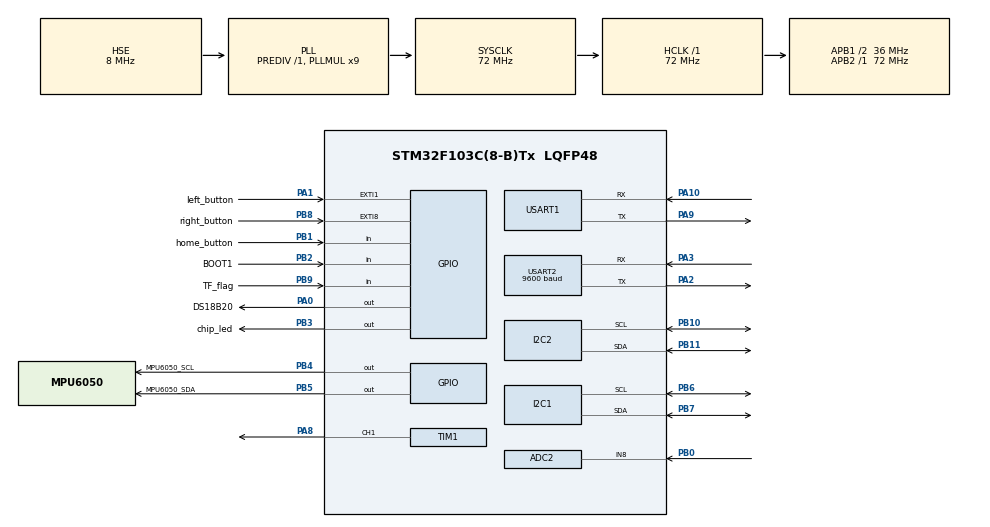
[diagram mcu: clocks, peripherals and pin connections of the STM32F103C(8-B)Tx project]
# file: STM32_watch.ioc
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ADC2.Channel-0\#ChannelRegularConversion=ADC_CHANNEL_8
ADC2.NbrOfConversionFlag=1
ADC2.Rank-0\#ChannelRegularConversion=1
ADC2.SamplingTime-0\#ChannelRegularConversion=ADC_SAMPLETIME_1CYCLE_5
FREERTOS.Queues01=UARTQueue,16,uint16_t,0,Dynamic,NULL,NULL
FREERTOS.Tasks01=defaultTask,24,256,StartDefaultTask,Default,NULL,Dynamic,NULL,NULL;HomeButtonListe,24,256,StartHomeButtonListen,Default,NULL,Dynamic,NULL,NULL;HomeButtonHandl,26,256,StartHomeButtonHandler,Default,NULL,Dynamic,NULL,NULL;lrbuttonListen,25,256,StartlrbuttonListen,Default,NULL,Dynamic,NULL,NULL;UartTestTask,24,256,StartUartTestTask,Default,NULL,Dynamic,NULL,NULL;OledshowTask,27,256,StartOledshowTask,Default,NULL,Dynamic,NULL,NULL;MPU6050Task,24,128,StartMPU6050Task,Default,NULL,Dynamic,NULL,NULL
FREERTOS.configTOTAL_HEAP_SIZE=10240
FREERTOS.configUSE_NEWLIB_REENTRANT=1
Mcu.Family=STM32F1
Mcu.Name=STM32F103C(8-B)Tx
Mcu.Package=LQFP48
NVIC.EXTI1_IRQn=true\:5\:0\:false\:false\:true\:false\:true\:true\:true
NVIC.EXTI9_5_IRQn=true\:5\:0\:false\:false\:true\:false\:true\:true\:true
NVIC.PriorityGroup=NVIC_PRIORITYGROUP_4
NVIC.TIM4_IRQn=true\:15\:0\:false\:false\:true\:false\:false\:true\:true
NVIC.TimeBase=TIM4_IRQn
NVIC.TimeBaseIP=TIM4
NVIC.USART2_IRQn=true\:5\:0\:false\:false\:true\:true\:true\:true\:true
PA0-WKUP.GPIO_Label=DS18B20
PA0-WKUP.GPIO_ModeDefaultOutputPP=GPIO_MODE_OUTPUT_OD
PA0-WKUP.GPIO_PuPd=GPIO_PULLUP
PA0-WKUP.Signal=GPIO_Output
PA1.GPIO_Label=left_button
PA1.GPIO_ModeDefaultEXTI=GPIO_MODE_IT_RISING_FALLING
PA1.GPIO_PuPd=GPIO_PULLUP
PA1.Signal=GPXTI1
PA10.Mode=Asynchronous
PA10.Signal=USART1_RX
PA13.Mode=Serial_Wire
PA13.Signal=SYS_JTMS-SWDIO
PA14.Mode=Serial_Wire
PA14.Signal=SYS_JTCK-SWCLK
PA2.Mode=Asynchronous
PA2.Signal=USART2_TX
PA3.Mode=Asynchronous
PA3.Signal=USART2_RX
PA8.Signal=S_TIM1_CH1
PA9.Mode=Asynchronous
PA9.Signal=USART1_TX
PB0.Signal=ADCx_IN8
PB1.GPIO_Label=home_button
PB1.GPIO_PuPd=GPIO_PULLUP
PB1.Signal=GPIO_Input
PB10.Mode=I2C
PB10.Signal=I2C2_SCL
PB11.Mode=I2C
PB11.Signal=I2C2_SDA
PB2.GPIO_Label=BOOT1
PB2.Signal=GPIO_Input
PB3.GPIO_Label=chip_led
PB3.Signal=GPIO_Output
PB4.GPIO_Label=MPU6050_SCL
PB4.GPIO_ModeDefaultOutputPP=GPIO_MODE_OUTPUT_OD
PB4.GPIO_PuPd=GPIO_PULLUP
PB4.Signal=GPIO_Output
PB5.GPIO_Label=MPU6050_SDA
PB5.GPIO_ModeDefaultOutputPP=GPIO_MODE_OUTPUT_OD
PB5.GPIO_PuPd=GPIO_PULLUP
PB5.Signal=GPIO_Output
PB6.Mode=I2C
PB6.Signal=I2C1_SCL
PB7.Mode=I2C
PB7.Signal=I2C1_SDA
PB8.GPIO_Label=right_button
PB8.GPIO_ModeDefaultEXTI=GPIO_MODE_IT_RISING_FALLING
PB8.GPIO_PuPd=GPIO_PULLUP
PB8.Signal=GPXTI8
PB9.GPIO_Label=TF_flag
PB9.Signal=GPIO_Input
PC14-OSC32_IN.Mode=LSE-External-Oscillator
PC14-OSC32_IN.Signal=RCC_OSC32_IN
PC15-OSC32_OUT.Mode=LSE-External-Oscillator
PC15-OSC32_OUT.Signal=RCC_OSC32_OUT
PD0-OSC_IN.Mode=HSE-External-Oscillator
PD0-OSC_IN.Signal=RCC_OSC_IN
PD1-OSC_OUT.Mode=HSE-External-Oscillator
PD1-OSC_OUT.Signal=RCC_OSC_OUT
ProjectManager.HeapSize=0x200
ProjectManager.StackSize=0x400
ProjectManager.TargetToolchain=STM32CubeIDE
RCC.ADCPresc=RCC_ADCPCLK2_DIV6
RCC.AHBFreq_Value=72000000
RCC.APB1CLKDivider=RCC_HCLK_DIV2
RCC.APB1Freq_Value=36000000
RCC.APB1TimFreq_Value=72000000
RCC.APB2Freq_Value=72000000
RCC.APB2TimFreq_Value=72000000
RCC.HCLKFreq_Value=72000000
RCC.PLLMUL=RCC_PLL_MUL9
RCC.PLLSourceVirtual=RCC_PLLSOURCE_HSE
RCC.RTCClockSelection=RCC_RTCCLKSOURCE_LSE
RCC.SYSCLKFreq_VALUE=72000000
RCC.SYSCLKSource=RCC_SYSCLKSOURCE_PLLCLK
RCC.USBFreq_Value=72000000
SH.ADCx_IN8.0=ADC2_IN8,IN8
SH.S_TIM1_CH1.0=TIM1_CH1,PWM Generation1 CH1
TIM1.Channel-PWM\ Generation1\ CH1=TIM_CHANNEL_1
TIM2.AutoReloadPreload=TIM_AUTORELOAD_PRELOAD_ENABLE
TIM2.Prescaler=71
USART1.VirtualMode=VM_ASYNC
USART2.BaudRate=9600
USART2.VirtualMode=VM_ASYNC
VP_FREERTOS_VS_CMSIS_V2.Mode=CMSIS_V2
VP_RTC_VS_RTC_Activate.Mode=RTC_Enabled
VP_SYS_VS_tim4.Mode=TIM4
VP_TIM2_VS_ClockSourceINT.Mode=Internal
VP_TIM3_VS_ClockSourceINT.Mode=Internal
board=custom

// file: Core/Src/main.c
/* USER CODE BEGIN Header */
/**
  ******************************************************************************
  * @file           : main.c
  * @brief          : Main program body
  ******************************************************************************
  * @attention
  *
  * Copyright (c) 2026 STMicroelectronics.
  * All rights reserved.
  *
  * This software is licensed under terms that can be found in the LICENSE file
  * in the root directory of this software component.
  * If no LICENSE file comes with this software, it is provided AS-IS.
  *
  ******************************************************************************
  */
/* USER CODE END Header */
#include "main.h"
#include "cmsis_os.h"
#include "adc.h"
#include "i2c.h"
#include "rtc.h"
#include "tim.h"
#include "usart.h"
#include "gpio.h"

/* USER CODE BEGIN Includes */
#include "oled.h"
#include "BMP280.h"
#include "DS18B20.h"
#include "MPU6050.h"
#include "clock.h"
/* USER CODE END Includes */

void SystemClock_Config(void);
void MX_FREERTOS_Init(void);

int main(void)
{

  /* MCU Configuration--------------------------------------------------------*/

  /* Reset of all peripherals, Initializes the Flash interface and the Systick. */
  HAL_Init();

  /* Configure the system clock */
  SystemClock_Config();

  /* Initialize all configured peripherals */
  MX_GPIO_Init();
  MX_ADC2_Init();
  MX_I2C1_Init();
  MX_I2C2_Init();
  MX_TIM1_Init();
  MX_USART1_UART_Init();
  MX_USART2_UART_Init();
  MX_RTC_Init();
  MX_TIM2_Init();
  MX_TIM3_Init();
  /* USER CODE BEGIN 2 */
  // 启动TIM2，用于Delay_us函数
  HAL_TIM_Base_Start(&htim2);
  HAL_TIM_Base_Start(&htim3);
  // 初始化硬件模块
  OLED_Init();
  BMP280_Init();
  DS18B20_Init();
  //MPU6050_Init();
  Clock_RTC_Init();
  __HAL_TIM_SET_COMPARE(&htim1, TIM_CHANNEL_1, 200);
  /* USER CODE END 2 */

  /* Init scheduler */
  osKernelInitialize();

  /* Call init function for freertos objects (in cmsis_os2.c) */
  MX_FREERTOS_Init();

  /* Start scheduler */
  osKernelStart();

  /* We should never get here as control is now taken by the scheduler */

  /* Infinite loop */
  while (1)
  {

  }
}

void SystemClock_Config(void)
{
  RCC_OscInitTypeDef RCC_OscInitStruct = {0};
  RCC_ClkInitTypeDef RCC_ClkInitStruct = {0};
  RCC_PeriphCLKInitTypeDef PeriphClkInit = {0};

  /** Initializes the RCC Oscillators according to the specified parameters
  * in the RCC_OscInitTypeDef structure.
  */
  RCC_OscInitStruct.OscillatorType = RCC_OSCILLATORTYPE_HSE|RCC_OSCILLATORTYPE_LSE;
  RCC_OscInitStruct.HSEState = RCC_HSE_ON;
  RCC_OscInitStruct.HSEPredivValue = RCC_HSE_PREDIV_DIV1;
  RCC_OscInitStruct.LSEState = RCC_LSE_ON;
  RCC_OscInitStruct.HSIState = RCC_HSI_ON;
  RCC_OscInitStruct.PLL.PLLState = RCC_PLL_ON;
  RCC_OscInitStruct.PLL.PLLSource = RCC_PLLSOURCE_HSE;
  RCC_OscInitStruct.PLL.PLLMUL = RCC_PLL_MUL9;
  if (HAL_RCC_OscConfig(&RCC_OscInitStruct) != HAL_OK)
  {
    Error_Handler();
  }

  /** Initializes the CPU, AHB and APB buses clocks
  */
  RCC_ClkInitStruct.ClockType = RCC_CLOCKTYPE_HCLK|RCC_CLOCKTYPE_SYSCLK
                              |RCC_CLOCKTYPE_PCLK1|RCC_CLOCKTYPE_PCLK2;
  RCC_ClkInitStruct.SYSCLKSource = RCC_SYSCLKSOURCE_PLLCLK;
  RCC_ClkInitStruct.AHBCLKDivider = RCC_SYSCLK_DIV1;
  RCC_ClkInitStruct.APB1CLKDivider = RCC_HCLK_DIV2;
  RCC_ClkInitStruct.APB2CLKDivider = RCC_HCLK_DIV1;

  if (HAL_RCC_ClockConfig(&RCC_ClkInitStruct, FLASH_LATENCY_2) != HAL_OK)
  {
    Error_Handler();
  }
  PeriphClkInit.PeriphClockSelection = RCC_PERIPHCLK_RTC|RCC_PERIPHCLK_ADC;
  PeriphClkInit.RTCClockSelection = RCC_RTCCLKSOURCE_LSE;
  PeriphClkInit.AdcClockSelection = RCC_ADCPCLK2_DIV6;
  if (HAL_RCCEx_PeriphCLKConfig(&PeriphClkInit) != HAL_OK)
  {
    Error_Handler();
  }
}

void HAL_TIM_PeriodElapsedCallback(TIM_HandleTypeDef *htim)
{
  if (htim->Instance == TIM4)
  {
    HAL_IncTick();
  }
}

void Error_Handler(void)
{
  __disable_irq();
  while (1)
  {
  }
}

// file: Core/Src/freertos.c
/* USER CODE BEGIN Header */
/**
 ******************************************************************************
 * File Name          : freertos.c
 * Description        : Code for freertos applications
 ******************************************************************************
 * @attention
 *
 * Copyright (c) 2025 STMicroelectronics.
 * All rights reserved.
 *
 * This software is licensed under terms that can be found in the LICENSE file
 * in the root directory of this software component.
 * If no LICENSE file comes with this software, it is provided AS-IS.
 *
 ******************************************************************************
 */
/* USER CODE END Header */

#include "FreeRTOS.h"
#include "task.h"
#include "main.h"
#include "cmsis_os.h"

/* USER CODE BEGIN Includes */
#include "clock.h"
#include <stdio.h>
#include <string.h>
#include "usart.h"
#include "tim.h"
#include "time.h"
#include "oled.h"
#include "DS18B20.h"
#include "game.h"
#include "BMP280.h"
#include "AHT20.h"
#include "queue.h"
#include "MPU6050.h"
#include "adc.h"
#include "flash_storage.h"
#include <math.h>
#include <stdlib.h>
#include "notes.h"
/* USER CODE END Includes */

/* USER CODE BEGIN PTD */
#define UART_QUEUE_LEN     10    // 串口队列长度

/* USER CODE END PTD */

/* USER CODE BEGIN PD */
// 游戏相关宏定义（优化补充：帧率、滤波、节流阈值）
#define GAME_CHAR_A         "A"        // 玩家控制字符
#define GAME_CHAR_V         "V"        // 下落字符
#define GAME_DISPLAY_PAGE  7           // 固定显示页
#define ACC_X_MIN          -1.0f       // X轴加速度下限
#define ACC_X_MAX          1.0f        // X轴加速度上限
#define SCREEN_X_MIN       0           // 屏幕X坐标下限
#define SCREEN_X_MAX       122         // 屏幕X坐标上限
#define CHAR_WIDTH          6          // 6*8点阵字符宽度（用于碰撞判断）
#define GAME_DISPLAY_PAGE_A 7           // 玩家字符A的显示页（页1，行8~15）
#define GAME_FRAME_DELAY   30          // 合理帧率延时（30ms，约33次/秒，流畅不卡顿）
#define POS_CHANGE_THRESH  3           // OLED操作节流阈值（坐标变化超过1才更新）
#define FILTER_ALPHA       0.7f        // 滑动滤波系数（0~1，越接近1越平滑，响应越慢；推荐0.7）
#define MAX_V_COUNT         10         // V的最大数量

#define GAME_DISPLAY_PAGE_V_INIT 0      // V的初始显示页（页0，最上方，行0~7）

#define R25_VALUE    1000.0f    // R25=1KΩ
#define R26_VALUE    3600.0f    // R26=3.6KΩ
#define ADC_RESOLUTION  4095.0f // 12位ADC分辨率（0~4095）
#define VREF_VOLTAGE   3.3f     // ADC参考电压（通常为3.3V）

#define USART2_RX_BUF_SIZE  80
uint8_t usart2_rx_single_buf[1];  // 单字节接收缓冲区（中断用）
uint8_t usart2_rx_str_buf[USART2_RX_BUF_SIZE] = {0};  // 字符串累积缓冲区
uint8_t usart2_rx_str_len = 0;    // 缓冲区当前长度
/* USER CODE END PD */

/* USER CODE BEGIN Variables */
// 全局变量
volatile Show_Picture_t Current_Show_Picture = home_time;
volatile Show_Picture_t Picture_before = home_time;
volatile Work_State_t g_work_state = NORMAL;
volatile Key_State_t g_home_key_state = KEY_NONE;
volatile Key_State_t g_left_key_state = KEY_NONE;
volatile Key_State_t g_right_key_state = KEY_NONE;
volatile Modify_Time_choose_t Modify_Time_choose = year;
volatile Modify_Temp_choose_t Modify_Temp_choose = mintemp;
volatile Modify_Alarm_choose_t Modify_Alarm_choose = MODIFY_ALARM_HOUR;
struct tm *time_temp = NULL;
uint8_t oled_screen_on = 1;

uint32_t adc_raw;
struct tm *now;

V_Obj_t V_Array[MAX_V_COUNT] = {0};    // V的结构体数组（最多10个）

Env_Thresh_Config_t g_global_env_config;
QueueHandle_t xUartQueue = NULL;   // 串口指令队列

int V_MOVE_INTERVAL = 500;     // V的下移间隔（1秒，FreeRTOS ticks）
int V_SPAWN_INTERVAL = 500;     // V的生成间隔（1秒，FreeRTOS ticks）

xTaskHandle xTask3_Handle = NULL;
xTaskHandle xTask2_Handle = NULL;
float AHT20_Temperature = 0;
float AHT20_Humidity = 0;

float BMP280_P0 = 101325.0;
float BMP280_Temperature = 0;
float BMP280_Pressure = 0;
uint8_t temp_flag = 0;
uint8_t pre_flag = 0;
float altitude = 0;
float ds18b20_Temperature = 0;

//掉电不丢失数据
float  H_temp;
float  L_temp;
float  L_preesure;
uint32_t  Screen_off_time = 30000;
uint8_t alarm_hour = 0;
uint8_t alarm_min = 0;
uint8_t alarm_second = 0;

float AccX = 0;
float AccY = 0;
float AccZ = 0;
float GyroX = 0;
float GyroY = 0;
float GyroZ = 0;

float percentage=0;

volatile uint8_t music_flag = 0;

#define ACC_CHANGE_THRESHOLD 0.2f

static float    last_AccX = 0.0f, last_AccY = 0.0f, last_AccZ = 0.0f; // 上一次加速度数据
static uint32_t axy_check_counter = 1;
static uint8_t last_minute = 0; // 上一次的分钟数，用于检测整点

/* USER CODE END Variables */
/* Definitions for defaultTask */
osThreadId_t defaultTaskHandle;
const osThreadAttr_t defaultTask_attributes = {
		.name = "defaultTask",
		.stack_size = 512 * 4,
		.priority = (osPriority_t) osPriorityNormal3,
};
/* Definitions for HomeButtonListe */
osThreadId_t HomeButtonListeHandle;
const osThreadAttr_t HomeButtonListe_attributes = {
		.name = "HomeButtonListe",
		.stack_size = 16 * 4,
		.priority = (osPriority_t) osPriorityNormal3,
};
/* Definitions for HomeButtonHandl */
osThreadId_t HomeButtonHandlHandle;
const osThreadAttr_t HomeButtonHandl_attributes = {
		.name = "HomeButtonHandl",
		.stack_size = 256 * 4,
		.priority = (osPriority_t) osPriorityNormal2,
};
/* Definitions for lrbuttonListen */
osThreadId_t lrbuttonListenHandle;
const osThreadAttr_t lrbuttonListen_attributes = {
		.name = "lrbuttonListen",
		.stack_size = 256 * 4,
		.priority = (osPriority_t) osPriorityNormal1,
};
/* Definitions for UartTestTask */
osThreadId_t UartTestTaskHandle;
const osThreadAttr_t UartTestTask_attributes = {
		.name = "UartTestTask",
		.stack_size = 256 * 4,
		.priority = (osPriority_t) osPriorityNormal,
};
/* Definitions for OledshowTask */
osThreadId_t OledshowTaskHandle;
const osThreadAttr_t OledshowTask_attributes = {
		.name = "OledshowTask",
		.stack_size = 256 * 4,
		.priority = (osPriority_t) osPriorityNormal3,
};
/* Definitions for MPU6050Task */
osThreadId_t MPU6050TaskHandle;
const osThreadAttr_t MPU6050Task_attributes = {
		.name = "MPU6050Task",
		.stack_size = 128 * 4,
		.priority = (osPriority_t) osPriorityNormal,
};
/* Definitions for UARTQueue */
osMessageQueueId_t UARTQueueHandle;
const osMessageQueueAttr_t UARTQueue_attributes = {
		.name = "UARTQueue"
};

/* USER CODE BEGIN FunctionPrototypes */

/**
 * @brief  解析环境参数键值对，更新全局配置
 * @param  key: 键名（M_Htemp/M_Ltemp/M_Lpre/M_OffTime）
 * @param  value: 数值字符串
 * @retval 0: 成功，1: 键名未知，2: 数值非法
 */
int Parse_Env_KeyValue(char *key, char *value)
{
	//	char dbg_msg[20];
	//	sprintf(dbg_msg, "AAA[%s], BBB:%s\n", key, value);
	//	HAL_UART_Transmit(&huart2, (uint8_t*)dbg_msg, strlen(dbg_msg), 100);
	float f_value;
	uint32_t u32_value;
	// 1. 最高温 M_Htemp
	if(strcmp(key, "M_Htemp") == 0)
	{
		//		sprintf(dbg_msg, "ENV_DBG: value=[%s], len=%d\r\n", value, strlen(value));
		//		HAL_UART_Transmit(&huart2, (uint8_t*)dbg_msg, strlen(dbg_msg), 100);
		//if(sscanf(value, "%f", &f_value) != 1) {return 2;}
		sscanf(value, "%f", &f_value);
		g_global_env_config.temp_high_thresh = f_value;
		//		sprintf(dbg_msg, "f_value:%.2f ENV_DBG: %.2f AAA", f_value,g_global_env_config.temp_high_thresh);
		//		HAL_UART_Transmit(&huart2, (uint8_t*)dbg_msg, strlen(dbg_msg), 100);
		return 0;
	}
	// 2. 最低温 M_Ltemp
	else if(strcmp(key, "M_Ltemp") == 0)
	{
		//HAL_TIM_PWM_Start(&htim1, TIM_CHANNEL_1);
		sscanf(value, "%f", &f_value);
		g_global_env_config.temp_low_thresh = f_value;
		return 0;
	}
	// 3. 最低气压 M_Lpre
	else if(strcmp(key, "M_Lpre") == 0)
	{
		sscanf(value, "%f", &f_value);
		g_global_env_config.press_low_thresh = f_value;
		return 0;
	}
	// 4. 熄屏时间 M_OffTime
	else if(strcmp(key, "M_OffTime") == 0)
	{
		sscanf(value, "%ld", &u32_value);
		g_global_env_config.Screen_off_time = u32_value;
		return 0;
	}
	// 未知键名
	else
	{
		HAL_TIM_PWM_Start(&htim1, TIM_CHANNEL_1);
		return 1;
	}
}

UART_Cmd_t Parse_UART_Cmd(uint8_t *buf)
{
	if(buf == NULL || buf[0] == '\0')
	{
		return CMD_NONE;
	}

	// 转换为C字符串方便处理
	char *cmd_str = (char *)buf;

	// 1. 时间校准命令：check_time+YYYY-MM-DD HH:MM:SS
	if(strstr(cmd_str, "check_time+") != NULL)
	{
		//HAL_TIM_PWM_Start(&htim1, TIM_CHANNEL_1);
		return CMD_CALIBRATION_TIME;
	}
	// 新增：环境参数修改命令：modify_env+$M_Htemp:xx$...
	if(strstr(cmd_str, "modify_env+") != NULL)
	{
		return CMD_MODIFY_ENV;
	}
	// 2. 原有显示命令（改成字符串判断，兼容旧逻辑）
	else if(strcmp(cmd_str, "show_time\r\n") == 0)
	{
		return CMD_SHOW_TIME;
	}
	else if(strcmp(cmd_str, "show_temp\r\n") == 0)
	{
		return CMD_SHOW_TEMP;
	}
	else if(strcmp(cmd_str, "show_press\r\n") == 0)
	{
		return CMD_SHOW_PRESS;
	}
	else if(strcmp(cmd_str, "show_game\r\n") == 0)
	{
		return CMD_SHOW_GAME;
	}
	// 3. 未知命令
	else
	{
		return CMD_NONE;
	}
}

void HAL_UART_RxCpltCallback(UART_HandleTypeDef *huart)
{
	if(huart->Instance == USART2) // 确保是USART2的中断
	{
		BaseType_t xHigherPriorityTaskWoken = pdFALSE;

		// 1. 将收到的单字节添加到字符串缓冲区
		if(usart2_rx_str_len < USART2_RX_BUF_SIZE - 1) // 预留最后1字节存结束符
		{
			usart2_rx_str_buf[usart2_rx_str_len++] = usart2_rx_single_buf[0];

			// 2. 判断是否收到结束符（\n），表示命令字符串接收完成
			if(usart2_rx_single_buf[0] == '\n')
			{
				// 添加字符串结束符，方便C语言字符串处理
				usart2_rx_str_buf[usart2_rx_str_len] = '\0';

				// 3. 将完整命令字符串发送到FreeRTOS队列
				if(xUartQueue != NULL)
				{
					xQueueSendFromISR(xUartQueue, usart2_rx_str_buf, &xHigherPriorityTaskWoken);
				}

				// 4. 清空缓冲区，准备下一次接收
				usart2_rx_str_len = 0;
				memset(usart2_rx_str_buf, 0, USART2_RX_BUF_SIZE);
			}
		}
		else
		{
			// 缓冲区满，强制清空
			usart2_rx_str_len = 0;
			memset(usart2_rx_str_buf, 0, USART2_RX_BUF_SIZE);
		}

		// 5. 重新开启串口中断（必须手动重启单次中断）
		HAL_UART_Receive_IT(&huart2, usart2_rx_single_buf, 1);
	}
}

void updatea_env_value()
{
	H_temp = g_global_env_config.temp_high_thresh;
	L_temp = g_global_env_config.temp_low_thresh;
	L_preesure = g_global_env_config.press_low_thresh;
	Screen_off_time = g_global_env_config.Screen_off_time;
	alarm_hour = g_global_env_config.alarm_hour;
	alarm_min = g_global_env_config.alarm_min;
	alarm_second = g_global_env_config.alarm_second;
}

// 提取OLED刷新公共函数，减少代码冗余
void Refresh_OLED_Time(struct tm *time_temp, char *row1, char *row2) {
	//OLED_CLS();
	sprintf(row1,"%02d-%02d-%02d",time_temp->tm_year + 1900,time_temp->tm_mon + 1,time_temp->tm_mday);
	sprintf(row2,"%02d:%02d:%02d",time_temp->tm_hour,time_temp->tm_min,time_temp->tm_sec);
	OLED_ShowStr(24, 1, (unsigned char*)row1, 2);
	OLED_ShowStr(32, 5, (unsigned char*)row2, 2);
}

void Refresh_OLED_Temp(char *row1, char *row2) {
	//OLED_CLS();
	sprintf(row1,"MIN_TEMP:%.2f",L_temp);
	sprintf(row2,"MAX_TEMP:%.2f",H_temp);
	OLED_ShowStr(10, 1, (unsigned char*)row1, 2);
	OLED_ShowStr(10, 5, (unsigned char*)row2, 2);
}

// 先声明一个辅助函数：获取指定月份的最大天数（基础版，适配平年，进阶版可增加闰年判断）
int Get_Max_Day(int year_offset, int month) {
	// month是tm_mon（0~11），对应1~12月
	switch(month) {
	case 1: // 2月（平年28天，闰年29天，此处先做平年处理，后续可扩展闰年判断）
		return 28;
	case 3: case 5: case 8: case 10: // 4、6、9、11月（30天）
		return 30;
	default: // 1、3、5、7、8、10、12月（31天）
		return 31;
	}
}

/**
 * @brief  读取ADC2_IN8的原始采样值
 * @retval ADC原始值（0~4095）
 */
void ADC_Read_Raw(void)
{
	if (HAL_ADC_Start(&hadc2) != HAL_OK)
	{
		Error_Handler();
	}

	// 等待转换完成
	if (HAL_ADC_PollForConversion(&hadc2, 10) == HAL_OK)
	{
		// 读取ADC原始值
		adc_raw = HAL_ADC_GetValue(&hadc2);
	}

	HAL_ADC_Stop(&hadc2);
}

/**
 * @brief  计算电池电压（基于分压电路反推）
 * @retval 电池电压值（单位：V，如锂电池满电约4.2V）
 */
float ADC_Calculate_BatteryVoltage(void)
{
	ADC_Read_Raw();
	// 1. 计算ADC采样到的分压后电压
	float sampled_voltage = (adc_raw * VREF_VOLTAGE) / ADC_RESOLUTION;
	// 2. 根据分压比反推电池电压：Vbat = Vsampled * (R25+R26)/R26
	float battery_voltage = sampled_voltage * (R25_VALUE + R26_VALUE) / R26_VALUE;

	return battery_voltage;
}

void gameTask(void * pvParameters);
void musicTask(void * pvParameters);
/* USER CODE END FunctionPrototypes */

void StartDefaultTask(void *argument);
void StartHomeButtonListen(void *argument);
void StartHomeButtonHandler(void *argument);
void StartlrbuttonListen(void *argument);
void StartUartTestTask(void *argument);
void StartOledshowTask(void *argument);
void StartMPU6050Task(void *argument);

void MX_FREERTOS_Init(void); /* (MISRA C 2004 rule 8.1) */

void MX_FREERTOS_Init(void) {
	/* USER CODE BEGIN Init */

	xUartQueue = xQueueCreate(UART_QUEUE_LEN, USART2_RX_BUF_SIZE);

	HAL_UART_Receive_IT(&huart2, usart2_rx_single_buf, 1);
	/* USER CODE END Init */

	/* Create the queue(s) */
	/* creation of UARTQueue */
	UARTQueueHandle = osMessageQueueNew (16, sizeof(uint16_t), &UARTQueue_attributes);

	/* Create the thread(s) */
	/* creation of defaultTask */
	defaultTaskHandle = osThreadNew(StartDefaultTask, NULL, &defaultTask_attributes);

	/* creation of HomeButtonListe */
	HomeButtonListeHandle = osThreadNew(StartHomeButtonListen, NULL, &HomeButtonListe_attributes);

	/* creation of HomeButtonHandl */
	HomeButtonHandlHandle = osThreadNew(StartHomeButtonHandler, NULL, &HomeButtonHandl_attributes);

	/* creation of lrbuttonListen */
	lrbuttonListenHandle = osThreadNew(StartlrbuttonListen, NULL, &lrbuttonListen_attributes);

	/* creation of UartTestTask */
	UartTestTaskHandle = osThreadNew(StartUartTestTask, NULL, &UartTestTask_attributes);

	/* creation of OledshowTask */
	OledshowTaskHandle = osThreadNew(StartOledshowTask, NULL, &OledshowTask_attributes);

	/* creation of MPU6050Task */
	MPU6050TaskHandle = osThreadNew(StartMPU6050Task, NULL, &MPU6050Task_attributes);

}

void StartDefaultTask(void *argument)
{
	/* USER CODE BEGIN StartDefaultTask */
	/* Infinite loop */
	//HAL_TIM_PWM_Start(&htim1, TIM_CHANNEL_1);
	char message[50] = "";
	if(Flash_Storage_Read_Latest_Thresh(&g_global_env_config)==HAL_OK)
	{
		updatea_env_value();
	}
	//	g_global_env_config.temp_high_thresh = 32.0f;
	//	g_global_env_config.temp_low_thresh = 6.0f;
	//	g_global_env_config.press_low_thresh = 90000.0f;
	//	g_global_env_config.Screen_off_time = 30000;
	//	Flash_Storage_Write_Thresh(&g_global_env_config);
	UART_Cmd_t uart_cmd = CMD_NONE;
	BaseType_t xStatus;
	char *env_param, *token, *key, *value;
	char env_buf[USART2_RX_BUF_SIZE] = {0}; // 环境参数缓冲区
	int parse_result;
	for(;;)
	{
		xStatus = xQueueReceive(xUartQueue, usart2_rx_str_buf, 0);
		if(xStatus == pdPASS)
		{
			uart_cmd = Parse_UART_Cmd(usart2_rx_str_buf);

			// 处理串口指令
			switch(uart_cmd)
			{
			case CMD_SHOW_TIME:
				Current_Show_Picture = home_time;
				break;

				// ========== 新增：时间校准命令处理 ==========
			case CMD_CALIBRATION_TIME:
			{
				// 提取时间参数：从"check_time+"后面截取时间字符串
				char *time_param = strstr((char *)usart2_rx_str_buf, "check_time+") + strlen("check_time+");
				if(time_param != NULL)
				{
					// 去除末尾的换行符，避免解析错误
					time_param[strcspn(time_param, "\r\n")] = '\0';

					// 解析时间字符串为struct tm格式
					struct tm calib_time = {0};
					sscanf(time_param, "%d-%d-%d %d:%d:%d",
							&calib_time.tm_year, &calib_time.tm_mon, &calib_time.tm_mday,
							&calib_time.tm_hour, &calib_time.tm_min, &calib_time.tm_sec);

					// 转换为RTC需要的格式：tm_year是从1900年开始的偏移，tm_mon是0-11
					calib_time.tm_year -= 1900;
					calib_time.tm_mon -= 1;
					calib_time.tm_sec += 1;

					// 设置RTC时间
					Clock_RTC_SetTime(&calib_time);

					// 发送校准成功响应
					sprintf(message, "CALIB_OK: %s\r\n", time_param);
					HAL_UART_Transmit(&huart2, (uint8_t*)message, strlen(message), 100);
				}
			}
			break;
			// ========== 新增：环境参数修改命令处理 ==========
			case CMD_MODIFY_ENV:
			{
				// 1. 提取环境参数（跳过modify_env+前缀）
				env_param = strstr((char *)usart2_rx_str_buf, "modify_env+");
				if(env_param == NULL)
				{
					sprintf(message, "ENV_ERR: Param NULL\r\n");
					HAL_UART_Transmit(&huart2, (uint8_t*)message, strlen(message), 100);
					break;
				}
				env_param += strlen("modify_env+");

				// 2. 清洗参数：去除\r\n，复制到临时缓冲区
				env_param[strcspn(env_param, "\r\n")] = '\0';
				strncpy(env_buf, env_param, sizeof(env_buf)-1);
				env_buf[sizeof(env_buf)-1] = '\0';
				HAL_UART_Transmit(&huart2, (uint8_t*)"SDSD  ", strlen("SDSD  "), 100);
				HAL_UART_Transmit(&huart2, (uint8_t*)env_buf, strlen(env_buf), 100);

				// 3. 手动解析键值对（以$分隔，格式：$key:value$key:value$）
				int all_ok = 1; // 所有参数是否解析成功
				int i = 0;
				while(i < sizeof(env_buf) && env_buf[i] != '\0')
				{
					// 跳过非$字符
					while(i < sizeof(env_buf) && env_buf[i] != '$' && env_buf[i] != '\0')
					{
						i++;
					}
					// 跳过$字符
					if(i < sizeof(env_buf) && env_buf[i] == '$')
					{
						i++;
					}
					// 找到键值对的开始位置
					int start = i;
					// 找到下一个$字符或结束符
					while(i < sizeof(env_buf) && env_buf[i] != '$' && env_buf[i] != '\0')
					{
						i++;
					}
					// 提取键值对
					if(i > start)
					{
						// 复制到临时缓冲区
						char pair_buf[20] = {0};
						strncpy(pair_buf, &env_buf[start], i - start);
						pair_buf[i - start] = '\0';

						// 分割key和value
						char *colon_pos = strchr(pair_buf, ':');
						if(colon_pos == NULL)
						{
							all_ok = 0;
							break;
						}

						// 分割key
						char key_buf[10] = {0};
						int key_len = colon_pos - pair_buf;
						strncpy(key_buf, pair_buf, key_len);
						key_buf[key_len] = '\0';

						// 分割value
						char value_buf[10] = {0};
						strncpy(value_buf, colon_pos + 1, strlen(colon_pos + 1));
						value_buf[strlen(colon_pos + 1)] = '\0';

						// 校验并解析
						if(strlen(key_buf) > 0 && strlen(value_buf) > 0)
						{
							// 只在修改共享资源时进入临界区
							taskENTER_CRITICAL();
							parse_result = Parse_Env_KeyValue(key_buf, value_buf);
							taskEXIT_CRITICAL();
							if(parse_result != 0)
							{
								all_ok = 0;
								break;
							}
						}
						else
						{
							all_ok = 0;
							break;
						}
					}
				}

				// 4. 所有参数解析成功，写入Flash并返回成功响应
				if(all_ok)
				{
					if(Flash_Storage_Write_Thresh(&g_global_env_config) == HAL_OK)
					{
						// 更新全局变量（和你的updatea_env_value逻辑对齐）
						updatea_env_value();
						sprintf(message, "ENV_OK: Save Success\r\n");
					}
					else
					{
						sprintf(message, "ENV_ERR: Flash Write Fail\r\n");
					}
				}
				else
				{
					sprintf(message, "ENV_ERR: Invalid Param\r\n");
				}

				// 5. 发送响应
				HAL_UART_Transmit(&huart2, (uint8_t*)message, strlen(message), 100);
			}
			break;
			case CMD_SHOW_TEMP:
				Current_Show_Picture = temperature;
				break;
			case CMD_SHOW_PRESS:
				Current_Show_Picture = pressure;
				break;
			case CMD_SHOW_GAME:
				Current_Show_Picture = game;
				break;
			default:
				break;
			}
		}

		osDelay(100);  // 降低任务CPU占用率
	}
	/* USER CODE END StartDefaultTask */
}

void StartHomeButtonListen(void *argument)
{
	/* USER CODE BEGIN StartHomeButtonListen */
	/* Infinite loop */
	while(1)
	{
		//		if(oled_screen_on == 0)
		//		{
		//			OLED_ON();
		//			oled_screen_on = 1;
		//		}
		if (HAL_GPIO_ReadPin(home_button_GPIO_Port, home_button_Pin) == GPIO_PIN_RESET)
		{
			// 按键按下：清零累计时长，启动定时器10ms中断
			//			g_home_key_press_ms = 0;
			//			HAL_TIM_Base_Start_IT(&htim3);
			osDelay(600);
			if (HAL_GPIO_ReadPin(home_button_GPIO_Port, home_button_Pin) == GPIO_PIN_RESET)
			{
				//HAL_GPIO_WritePin(GPIOB, GPIO_PIN_3, GPIO_PIN_SET);
				g_home_key_state = KEY_LONG_PRESS;
			}
			else if (HAL_GPIO_ReadPin(home_button_GPIO_Port, home_button_Pin) == GPIO_PIN_SET)
			{
				//HAL_GPIO_WritePin(GPIOB, GPIO_PIN_3, GPIO_PIN_RESET);
				g_home_key_state = KEY_SHORT_PRESS;
			}
			//HAL_TIM_Base_Start_IT(&htim3);
			//g_home_key_press_ms = 0;
		}
		else
		{
			// 按键松开：重置按键状态
			g_home_key_state = KEY_NONE;
		}
		osDelay(30);
	}
	/* USER CODE END StartHomeButtonListen */
}

void StartHomeButtonHandler(void *argument)
{
	/* USER CODE BEGIN StartHomeButtonHandler */
	/* Infinite loop */
	struct tm *now;
	char row1[30] = "";
	char row2[30] = "";
	for(;;)
	{

		if(g_home_key_state == KEY_NONE && g_work_state == NORMAL)
		{

		}
		else if(g_home_key_state == KEY_SHORT_PRESS && g_work_state == NORMAL && Current_Show_Picture != home_time)
		{
			//返回主界面
			Current_Show_Picture = home_time;
			g_home_key_state = KEY_NONE;
		}
		else if(g_home_key_state == KEY_LONG_PRESS && g_work_state == NORMAL&&Current_Show_Picture == game)
		{

			if (xTask2_Handle == NULL)
			{
				g_work_state = PLAY_GAME;
				g_home_key_state = KEY_NONE;
				vTaskSuspend(OledshowTaskHandle);
				//				vTaskSuspend(UartTestTaskHandle);
				//				vTaskSuspend(lrbuttonListenHandle);
				vTaskSuspend(MPU6050TaskHandle);
				OLED_CLS();
				xTaskCreate(gameTask,"gameTask",32,NULL,(osPriority_t) osPriorityNormal3,&xTask2_Handle );
			}
		}
		else if(g_home_key_state == KEY_LONG_PRESS && g_work_state == NORMAL&&Current_Show_Picture == music)
		{

			if (xTask3_Handle == NULL)
			{
				xTaskCreate(musicTask,"musicTask",256,NULL,(osPriority_t) osPriorityNormal3,&xTask3_Handle );
				music_flag = 1;
			}
			if(music_flag == 0)
			{
				vTaskResume(xTask3_Handle);
				music_flag = 1;
			}
			if(music_flag == 1)
			{
				vTaskSuspend(xTask3_Handle);
				music_flag = 0;
			}
		}
		else if(g_home_key_state == KEY_LONG_PRESS && g_work_state == PLAY_GAME)
		{
			g_work_state = NORMAL;
			g_home_key_state = KEY_NONE; // 重置按键状态，避免重复触发
			OLED_CLS();

			// 恢复所有挂起的任务（包括homeButtonListeHandle）
			vTaskResume(OledshowTaskHandle);
			vTaskResume(UartTestTaskHandle);//			    //vTaskResume(homeButtonListeHandle); // 恢复之前注释的按键监听任务
			//			    vTaskResume(lrbuttonListenHandle);
			vTaskResume(MPU6050TaskHandle);

		}
		else if(g_home_key_state == KEY_LONG_PRESS && g_work_state == NORMAL&&Current_Show_Picture == home_time)
		{
			//修改时间
			g_work_state = MODIFY_TIME;
			Modify_Time_choose = year;
			now = Clock_RTC_GetTime();
			time_temp = now;
			vTaskSuspend(OledshowTaskHandle);
			vTaskSuspend(UartTestTaskHandle);
			sprintf(row1,"%02d-%02d-%02d",now->tm_year + 1900,now->tm_mon + 1,now->tm_mday);
			sprintf(row2,"%02d:%02d:%02d",now->tm_hour,now->tm_min,now->tm_sec);
			OLED_CLS();
			OLED_ShowStr(24, 1, (unsigned char*)row1, 2);
			OLED_ShowStr(32, 5, (unsigned char*)row2, 2);
			g_home_key_state = KEY_NONE;
		}
		else if(g_home_key_state == KEY_LONG_PRESS && g_work_state == MODIFY_TIME)
		{
			//退出修改时间
			g_work_state = NORMAL;
			g_home_key_state = KEY_NONE;
			now = time_temp;
			Clock_RTC_SetTime(now);
			OLED_CLS();
			vTaskResume(OledshowTaskHandle);
			vTaskResume(UartTestTaskHandle);
		}
		else if(g_home_key_state == KEY_LONG_PRESS && g_work_state == NORMAL&&Current_Show_Picture == temperature)
		{
			//修改温度
			g_work_state = MODIFY_TEMP;
			Modify_Temp_choose = mintemp;
			OLED_CLS();
			vTaskSuspend(OledshowTaskHandle);
			vTaskSuspend(UartTestTaskHandle);
			sprintf(row1,"MIN_TEMP:%.2f",L_temp);
			sprintf(row2,"MAX_TEMP:%.2f",H_temp);
			OLED_ShowStr(10, 1, (unsigned char*)row1, 2);
			OLED_ShowStr(10, 5, (unsigned char*)row2, 2);
			g_home_key_state = KEY_NONE;
			//HAL_TIM_PWM_Start(&htim1, TIM_CHANNEL_1);
		}
		else if(g_home_key_state == KEY_LONG_PRESS && g_work_state == MODIFY_TEMP)
		{
			//退出修改温度
			g_work_state = NORMAL;
			g_home_key_state = KEY_NONE;
			g_global_env_config.temp_high_thresh = H_temp;
			g_global_env_config.temp_low_thresh = L_temp;
			Flash_Storage_Write_Thresh(&g_global_env_config);
			OLED_CLS();
			vTaskResume(OledshowTaskHandle);
			vTaskResume(UartTestTaskHandle);
		}
		else if(g_home_key_state == KEY_LONG_PRESS && g_work_state == NORMAL&&Current_Show_Picture == alarm)
		{
			//修改闹钟
			g_work_state = MODIFY_ALARM;
			Modify_Alarm_choose = MODIFY_ALARM_HOUR;
			OLED_CLS();
			vTaskSuspend(OledshowTaskHandle);
			vTaskSuspend(UartTestTaskHandle);
			sprintf(row1,"%02d-%02d-%02d",alarm_hour,alarm_min,alarm_second);
			OLED_ShowStr(30, 3, (unsigned char*)row1, 2);
			g_home_key_state = KEY_NONE;
		}
		else if(g_home_key_state == KEY_LONG_PRESS && g_work_state == MODIFY_ALARM)
		{
			//退出修改闹钟
			g_work_state = NORMAL;
			g_home_key_state = KEY_NONE;
			g_global_env_config.alarm_hour = alarm_hour;
			g_global_env_config.alarm_min = alarm_min;
			g_global_env_config.alarm_second = alarm_second;
			Flash_Storage_Write_Thresh(&g_global_env_config);
			OLED_CLS();
			vTaskResume(OledshowTaskHandle);
			vTaskResume(UartTestTaskHandle);
		}
		else if(g_home_key_state == KEY_SHORT_PRESS && g_work_state == MODIFY_TIME)
		{
			//选择要修改的时间
			//taskENTER_CRITICAL();
			Modify_Time_choose = (Modify_Time_choose + 1) % 6;
			//taskEXIT_CRITICAL();
			g_home_key_state = KEY_NONE;
			//其他两个按键监听g_work_state修改
		}
		else if(g_home_key_state == KEY_SHORT_PRESS && g_work_state == MODIFY_TEMP)
		{
			//选择要修改的时间
			//taskENTER_CRITICAL();
			Modify_Temp_choose = (Modify_Temp_choose + 1) % 2;
			//taskEXIT_CRITICAL();
			g_home_key_state = KEY_NONE;
			//其他两个按键监听g_work_state修改
		}
		else if(g_home_key_state == KEY_SHORT_PRESS && g_work_state == MODIFY_ALARM)
		{
			//选择要修改的闹钟
			Modify_Alarm_choose = (Modify_Alarm_choose + 1) % 3;
			g_home_key_state = KEY_NONE;
		}
		else if(g_home_key_state == KEY_NONE && g_work_state == MODIFY_TIME)
		{
			//无操作
		}

		osDelay(200);
		//延时不能太短，不然会判断两次长按
	}
	/* USER CODE END StartHomeButtonHandler */
}

void StartlrbuttonListen(void *argument)
{
	/* USER CODE BEGIN StartlrbuttonListen */
	/* Infinite loop */
	char row1[30] = "";
	char row2[30] = "";
	while(1)
	{
		HAL_GPIO_TogglePin(GPIOB, GPIO_PIN_3);
		if(g_work_state == NORMAL)
		{
			if(g_right_key_state == KEY_SHORT_PRESS)
			{
				Current_Show_Picture = (Current_Show_Picture + 1) % 6;
				g_right_key_state = KEY_NONE;
			}
			else if(g_left_key_state == KEY_SHORT_PRESS)
			{
				if(Current_Show_Picture > 0)
					Current_Show_Picture = (Current_Show_Picture - 1) % 6;
				g_left_key_state = KEY_NONE;
			}
		}
		else if(g_work_state == MODIFY_TIME)
		{
			if(g_left_key_state == KEY_SHORT_PRESS)
			{
				switch(Modify_Time_choose)
				{
				case year:
					// 年份下限：建议不低于0（对应1900年，可自定义调整）
					if(time_temp->tm_year > 0) {
						time_temp->tm_year = time_temp->tm_year - 1;
					}
					break;
				case mon:
					// 月份下限：0（对应1月）
					if(time_temp->tm_mon > 0) {
						time_temp->tm_mon = time_temp->tm_mon - 1;
						// 月份递减后，需同步修正日期（避免原日期超过新月份的最大天数，比如31日减到4月（30天））
						int max_day = Get_Max_Day(time_temp->tm_year, time_temp->tm_mon);
						if(time_temp->tm_mday > max_day) {
							time_temp->tm_mday = max_day;
						}
					}
					break;
				case day:
					// 日期下限：1，上限：当前月份的最大天数
					if(time_temp->tm_mday > 1) {
						time_temp->tm_mday = time_temp->tm_mday - 1;
					}
					break;
				case hour:
					// 小时下限：0
					if(time_temp->tm_hour > 0) {
						time_temp->tm_hour = time_temp->tm_hour - 1;
					}
					break;
				case min:
					// 分钟下限：0
					if(time_temp->tm_min > 0) {
						time_temp->tm_min = time_temp->tm_min - 1;
					}
					break;
				case sec:
					// 秒数下限：0
					if(time_temp->tm_sec > 0) {
						time_temp->tm_sec = time_temp->tm_sec - 1;
					}
					break;
				}
				// 调用公共刷新函数
				Refresh_OLED_Time(time_temp, row1, row2);
				g_left_key_state = KEY_NONE;
			}
			else if(g_right_key_state == KEY_SHORT_PRESS)
			{
				switch(Modify_Time_choose)
				{
				case year:
					// 年份上限：可自定义（比如2100年，对应tm_year=200）
					if(time_temp->tm_year < 200) {
						time_temp->tm_year = time_temp->tm_year + 1;
					}
					break;
				case mon:
					// 月份上限：11（对应12月）
					if(time_temp->tm_mon < 11) {
						time_temp->tm_mon = time_temp->tm_mon + 1;
						// 月份递增后，同步修正日期（避免原日期超过新月份的最大天数）
						int max_day = Get_Max_Day(time_temp->tm_year, time_temp->tm_mon);
						if(time_temp->tm_mday > max_day) {
							time_temp->tm_mday = max_day;
						}
					}
					break;
				case day:
					// 日期上限：当前月份的最大天数
					int max_day = Get_Max_Day(time_temp->tm_year, time_temp->tm_mon);
					if(time_temp->tm_mday < max_day) {
						time_temp->tm_mday = time_temp->tm_mday + 1;
					}
					break;
				case hour:
					// 小时上限：23
					if(time_temp->tm_hour < 23) {
						time_temp->tm_hour = time_temp->tm_hour + 1;
					}
					break;
				case min:
					// 分钟上限：59
					if(time_temp->tm_min < 59) {
						time_temp->tm_min = time_temp->tm_min + 1;
					}
					break;
				case sec:
					// 秒数上限：59
					if(time_temp->tm_sec < 59) {
						time_temp->tm_sec = time_temp->tm_sec + 1;
					}
					break;
				}
				// 调用公共刷新函数
				Refresh_OLED_Time(time_temp, row1, row2);
				g_right_key_state = KEY_NONE;
			}

		}
		else if(g_work_state == MODIFY_TEMP)
		{
			if(g_left_key_state == KEY_SHORT_PRESS)
			{
				switch(Modify_Temp_choose)
				{
				case mintemp:
					if(L_temp > -40) {
						L_temp--;
						// 确保低温不能比高温高
						if(L_temp >= H_temp) {
							L_temp = H_temp - 1;
						}
					}
					break;
				case maxtemp:
					if(H_temp > -40) {
						H_temp--;
						// 确保高温不能比低温低
						if(H_temp <= L_temp) {
							H_temp = L_temp + 1;
						}
					}
					break;
				}
				// 调用公共刷新函数
				Refresh_OLED_Temp(row1, row2);
				g_left_key_state = KEY_NONE;
			}
			else if(g_right_key_state == KEY_SHORT_PRESS)
			{
				switch(Modify_Temp_choose)
				{
				case mintemp:
					if(L_temp < 85) {
						L_temp++;
						// 确保低温不能比高温高
						if(L_temp >= H_temp) {
							L_temp = H_temp - 1;
						}
					}
					break;
				case maxtemp:
					if(H_temp < 85) {
						H_temp++;
						// 确保高温不能比低温低
						if(H_temp <= L_temp) {
							H_temp = L_temp + 1;
						}
					}
					break;
				}
				// 调用公共刷新函数
				Refresh_OLED_Temp(row1, row2);
				g_right_key_state = KEY_NONE;
			}
		}
		else if(g_work_state == MODIFY_ALARM)
		{
			if(g_left_key_state == KEY_SHORT_PRESS)
			{
				switch(Modify_Alarm_choose)
				{
				case MODIFY_ALARM_HOUR:
					if(alarm_hour > 0) {
						alarm_hour--;
					}
					break;
				case MODIFY_ALARM_MIN:
					if(alarm_min > 0) {
						alarm_min--;
					}
					break;
				case MODIFY_ALARM_SEC:
					if(alarm_second > 0) {
						alarm_second--;
					}
					break;
				}
				// 刷新显示
				sprintf(row1,"%02d-%02d-%02d",alarm_hour,alarm_min,alarm_second);
				OLED_ShowStr(24, 3, (unsigned char*)row1, 2);
				g_left_key_state = KEY_NONE;
			}
			else if(g_right_key_state == KEY_SHORT_PRESS)
			{
				switch(Modify_Alarm_choose)
				{
				case MODIFY_ALARM_HOUR:
					if(alarm_hour < 23) {
						alarm_hour++;
					}
					break;
				case MODIFY_ALARM_MIN:
					if(alarm_min < 59) {
						alarm_min++;
					}
					break;
				case MODIFY_ALARM_SEC:
					if(alarm_second < 59) {
						alarm_second++;
					}
					break;
				}
				// 刷新显示
				sprintf(row1,"%02d-%02d-%02d",alarm_hour,alarm_min,alarm_second);
				OLED_ShowStr(24, 3, (unsigned char*)row1, 2);
				g_right_key_state = KEY_NONE;
			}
		}
		osDelay(50);
	}
	/* USER CODE END StartlrbuttonListen */
}

void StartUartTestTask(void *argument)
{
	/* USER CODE BEGIN StartUartTestTask */
	/* Infinite loop */
	char message[150] = "";
	//	char er[6] = "";
	//	char ee[6] = "";
	//	char ea[6] = "";
	HAL_TIM_Base_Start(&htim1);
	float battery_volt=0.0f;
	for(;;)
	{
		//		if(g_home_key_state == KEY_SHORT_PRESS)
		//		{
		//			strcpy(er, "SHORT");
		//		}
		//		else if(g_home_key_state == KEY_LONG_PRESS)
		//		{
		//			strcpy(er, "LONG");
		//		}
		//		else if(g_home_key_state == KEY_NONE)
		//		{
		//			strcpy(er, "NO");
		//		}
		//		if(g_left_key_state == KEY_SHORT_PRESS)
		//		{
		//			strcpy(ee, "SHORT");
		//		}
		//		else if(g_left_key_state == KEY_LONG_PRESS)
		//		{
		//			strcpy(ee, "LONG");
		//		}
		//		else if(g_left_key_state == KEY_NONE)
		//		{
		//			strcpy(ee, "NO");
		//		}
		//		if(g_right_key_state == KEY_SHORT_PRESS)
		//		{
		//			strcpy(ea, "SHORT");
		//		}
		//		else if(g_right_key_state == KEY_LONG_PRESS)
		//		{
		//			strcpy(ea, "LONG");
		//		}
		//		else if(g_right_key_state == KEY_NONE)
		//		{
		//			strcpy(ea, "NO");
		//		}
		//		now = Clock_RTC_GetTime();
		//		sprintf(message,"%d-%d-%d %02d:%02d:%02d "
		//				"modify_num:%d home_ms:%ld home_key:%s "
		//				"l_key:%s r_key:%s "
		//				"bmp280_T:%.2f bmp280_P:%.2f"
		//				"ATH20_T:%.2f AHT20_H:%.2f"
		//				"DS18B20_T:%.2f",
		//				now->tm_year + 1900,now->tm_mon + 1,now->tm_mday,
		//				now->tm_hour,now->tm_min,now->tm_sec,Modify_Time_choose,g_home_key_press_ms,
		//				er,ee,ea,
		//				BMP280_Temperature,BMP280_Pressure,
		//				AHT20_Temperature,AHT20_Humidity,ds18b20_Temperature);
		//		HAL_UART_Transmit(&huart1, (uint8_t*)message, strlen(message), 100);

		//taskENTER_CRITICAL();

		battery_volt = ADC_Calculate_BatteryVoltage();
		if(battery_volt<3.3f)
			percentage = 0.0;
		else
			percentage = ((battery_volt - 3.3f) / (4.2f - 3.3f)) * 100.0f ;

		if(percentage>100)
			percentage=100.0;
		now = Clock_RTC_GetTime();
		snprintf(message,sizeof(message),"TIME(:)%d-%d-%d %02d:%02d:%02d(-)",
				now->tm_year + 1900,now->tm_mon + 1,now->tm_mday,
				now->tm_hour,now->tm_min,now->tm_sec);
		taskENTER_CRITICAL();
		HAL_UART_Transmit(&huart2, (uint8_t*)message, strlen(message), 100);
		taskEXIT_CRITICAL();
		memset(message, 0, sizeof(message));

		BMP280_Temperature = BMP280_ReadTemp();
		ds18b20_Temperature = DS18B20_ReadTemperature();
		BMP280_Pressure = BMP280_ReadPress();
		if(BMP280_Temperature>H_temp)
		{
			temp_flag = 1;
		}
		else if(BMP280_Temperature<L_temp)
		{
			temp_flag = 2;
		}
		else
		{
			temp_flag = 0;
		}
		if(BMP280_Pressure<L_preesure)
		{
			pre_flag = 1;
		}
		else
		{
			pre_flag = 0;
		}
		altitude = 44330.0 * (1.0 - pow( (BMP280_Pressure / BMP280_P0), 1.0 / 5.255 ));
		snprintf(message,sizeof(message),"TEMP1(:)%.2f(-)TEMP2(:)%.2f(-)Pressure(:)%.2f(-)HIGH(:)%.2f(-)",
				ds18b20_Temperature,BMP280_Temperature,BMP280_Pressure,altitude);
		taskENTER_CRITICAL();
		HAL_UART_Transmit(&huart2, (uint8_t*)message, strlen(message), 100);
		//taskEXIT_CRITICAL();
		memset(message, 0, sizeof(message));

		//HAL_Delay(10);
		snprintf(message,sizeof(message),"H_temp(:)%.2f(-)L_temp(:)%.2f(-)L_PRE(:)%.0f(-)OFF(:)%ld(-)",H_temp,L_temp,L_preesure,Screen_off_time);
		//taskENTER_CRITICAL();
		HAL_UART_Transmit(&huart2, (uint8_t*)message, strlen(message), 100);
		taskEXIT_CRITICAL();
		//taskEXIT_CRITICAL();
		osDelay(1000);
	}

	/* USER CODE END StartUartTestTask */
}

void StartOledshowTask(void *argument)
{
	/* USER CODE BEGIN StartOledshowTask */
	/* Infinite loop*/
	OLED_CLS();
	char row1[30] = "";
	char row2[30] = "";
	char row3[30] = "";
	// 初始化last_minute为当前分钟
	now = Clock_RTC_GetTime();
	last_minute = now->tm_min;
	for(;;)
	{
		// 获取当前时间
		now = Clock_RTC_GetTime();
		// 闹钟触发逻辑（00:00:00为不设置闹钟）- 优先级最高
		if(!(alarm_hour == 0 && alarm_min == 0 && alarm_second == 0) &&
		   now->tm_hour == alarm_hour && now->tm_min == alarm_min && now->tm_sec == alarm_second)
		{
			// 蜂鸣器一直响
			//__HAL_TIM_SET_AUTORELOAD(&htim1, 999); // 1kHz频率
			__HAL_TIM_SET_COMPARE(&htim1, TIM_CHANNEL_1, 200); // 20%占空比，减小音量
			HAL_TIM_PWM_Start(&htim1, TIM_CHANNEL_1);
		}
		// 整点提醒逻辑
		else if(now->tm_min == 0 && last_minute != 0)
		{
			// 时间在7:00-21:00之间
			if(now->tm_hour >= 7 && now->tm_hour <= 21)
			{
				// 蜂鸣器提醒，滴滴两声
				//__HAL_TIM_SET_AUTORELOAD(&htim1, 999); // 1kHz频率
				__HAL_TIM_SET_COMPARE(&htim1, TIM_CHANNEL_1, 500); // 50%占空比
				HAL_TIM_PWM_Start(&htim1, TIM_CHANNEL_1);
				osDelay(200);
				HAL_TIM_PWM_Stop(&htim1, TIM_CHANNEL_1);
				osDelay(100);
				HAL_TIM_PWM_Start(&htim1, TIM_CHANNEL_1);
				osDelay(200);
				HAL_TIM_PWM_Stop(&htim1, TIM_CHANNEL_1);
			}
		}
		last_minute = now->tm_min;

		switch(Current_Show_Picture)
		{
		case home_time:
			if(Current_Show_Picture != Picture_before)
				OLED_CLS();
			// 时间已经在上面获取过了
			//OLED_ShowStr(36, 0, (unsigned char*)"BAT", 2);
			//OLED_ShowStr(36, 0, (unsigned char*)"BAT", 2);
			sprintf(row1,"%02d-%02d-%02d",now->tm_year + 1900,now->tm_mon + 1,now->tm_mday);
			sprintf(row2,"%02d:%02d:%02d",now->tm_hour,now->tm_min,now->tm_sec);
			sprintf(row3,"BAT:%3.0f",percentage);
			OLED_ShowStr(50, 0, (unsigned char*)row3, 1);
			OLED_ShowStr(24, 1, (unsigned char*)row1, 2);
			OLED_ShowStr(32, 3, (unsigned char*)row2, 2);
			if(temp_flag == 1)
			{
				OLED_ShowStr(0, 6, (unsigned char*)"T_HIGH ", 1);
			}
			else if(temp_flag == 2)
			{
				OLED_ShowStr(0, 6, (unsigned char*)"T_LOW  ", 1);
			}
			else
			{
				OLED_ShowStr(0, 6, (unsigned char*)"T_heshi", 1);
			}
			if(pre_flag == 1)
			{
				OLED_ShowStr(50, 6, (unsigned char*)"P_LOW", 1);
			}
			else
			{
				OLED_ShowStr(50, 6, (unsigned char*)"     ", 1);
			}
			Picture_before = Current_Show_Picture;
			break;
		case alarm:
			if(Current_Show_Picture != Picture_before)
				OLED_CLS();
			OLED_ShowCN_STR(48,1,10,2);
			sprintf(row1,"%02d-%02d-%02d",alarm_hour,alarm_min,alarm_second);
			OLED_ShowStr(30, 3, (unsigned char*)row1, 2);
			Picture_before = Current_Show_Picture;
			break;
		case temperature:
			if(Current_Show_Picture != Picture_before)
				OLED_CLS();
			//taskENTER_CRITICAL();
			BMP280_Temperature = BMP280_ReadTemp();
			//AHT20_Read(&AHT20_Temperature, &AHT20_Humidity);
			//AHT2需要hal_delay，会破坏调度，导致UI卡顿
			ds18b20_Temperature = DS18B20_ReadTemperature();
			//taskEXIT_CRITICAL();
			sprintf(row1,"BM280_T:%.2fC",BMP280_Temperature);
			//sprintf(row2,"AHT20_T:%.2fC",AHT20_Temperature);
			sprintf(row2,"18B20_T:%.2fC",ds18b20_Temperature);
			sprintf(row3,"BAT:%3.0f",percentage);
			OLED_ShowStr(50, 0, (unsigned char*)row3, 1);
			OLED_ShowCN_STR(48,1,0,2);
			OLED_ShowStr(0, 3, (unsigned char*)row1, 2);
			OLED_ShowStr(0, 5, (unsigned char*)row2, 2);
			sprintf(row2,"min:%.2f max:%.2f",L_temp,H_temp);
			//OLED_ShowStr(0, 6, (unsigned char*)row2, 2);
			OLED_ShowStr(0, 7, (unsigned char*)row2, 1);
			Picture_before = Current_Show_Picture;
			break;
		case pressure:
			if(Current_Show_Picture != Picture_before)
				OLED_CLS();
			BMP280_Pressure = BMP280_ReadPress();
			altitude = 44330.0 * (1.0 - pow( (BMP280_Pressure / BMP280_P0), 1.0 / 5.255 ));
			sprintf(row1,"BMP280_P:%.0fPa",BMP280_Pressure);
			sprintf(row2,"current_H:%.0fm",altitude);
			sprintf(row3,"BAT:%3.0f",percentage);
			OLED_ShowStr(50, 0, (unsigned char*)row3, 1);
			OLED_ShowCN_STR(48,2,2,2);
			OLED_ShowStr(0, 4, (unsigned char*)row1, 2);
			OLED_ShowStr(0, 6, (unsigned char*)row2, 2);
			Picture_before = Current_Show_Picture;
			break;
		case music:
			if(Current_Show_Picture != Picture_before)
				OLED_CLS();
			OLED_ShowCN_STR(48,2,8,2);
			Picture_before = Current_Show_Picture;
			break;
		case game:
			if(Current_Show_Picture != Picture_before)
			{
				OLED_CLS();
				//MPU6050_Init();
			}

			OLED_ShowCN_STR(48,3,6,2);
			//						MPU6050_GetData(&AccX, &AccY, &AccZ,&GyroX, &GyroY, &GyroZ);
			//						sprintf(row1,"%.2f %.2f %.2f",AccX,AccY,AccZ);
			//						sprintf(row2,"%.2f %.2f %.2f",GyroX,GyroY,GyroZ);
			//						sprintf(row3,"BAT:%.2f",percentage);
			//						OLED_ShowStr(36, 0, (unsigned char*)row3, 2);
			//						OLED_ShowStr(0, 4, (unsigned char*)row1, 2);
			//						OLED_ShowStr(0, 6, (unsigned char*)row2, 2);
			Picture_before = Current_Show_Picture;
			break;
		}
		osDelay(200);
		//HAL_GPIO_TogglePin(GPIOB, GPIO_PIN_3);
	}
	/* USER CODE END StartOledshowTask */
}

void StartMPU6050Task(void *argument)
{
	/* USER CODE BEGIN StartMPU6050Task */
	/* Infinite loop */
	float acc_x_change, acc_y_change, acc_z_change, total_acc_change;
	//MPU6050_Init();

	MPU6050_GetData(&AccX, &AccY, &AccZ, &GyroX, &GyroY, &GyroZ);
	last_AccX = AccX;
	last_AccY = AccY;
	last_AccZ = AccZ;
	// 新增：记录最后一次有效运动（加速度超阈值）的时间戳（FreeRTOS节拍数）
	TickType_t xLast_Valid_Motion_Ticks = xTaskGetTickCount();

	// 固定短延时（保证检测实时性，推荐100ms，可根据需求调整）
	for(;;)
	{
		// ========== 步骤1：获取当前3轴加速度数据 ==========
		MPU6050_GetData(&AccX, &AccY, &AccZ, &GyroX, &GyroY, &GyroZ);

		// ========== 步骤2：计算3轴加速度的动态变化量 ==========
		// 计算当前与上一次的差值（绝对值，避免正负抵消）
		acc_x_change = fabsf(AccX - last_AccX);
		acc_y_change = fabsf(AccY - last_AccY);
		acc_z_change = fabsf(AccZ - last_AccZ);

		// 计算总变化量（3轴变化量求和，提高检测灵敏度）
		total_acc_change = acc_x_change + acc_y_change + acc_z_change;

		// ========== 步骤3：核心逻辑：判断运动状态，处理亮屏/息屏（修改后的核心） ==========
		if(oled_screen_on == 1)  // 亮屏状态：判断是否30秒无有效运动
		{
			// 子判断1：检测到有效运动（加速度超阈值），重置时间戳
			if(total_acc_change > ACC_CHANGE_THRESHOLD)
			{
				xLast_Valid_Motion_Ticks = xTaskGetTickCount();  // 重置最后一次有效运动时间戳
			}
			// 子判断2：计算累计无有效运动时长，达到30秒则息屏
			else
			{
				// 计算当前无有效运动时长（FreeRTOS溢出安全写法，无符号类型差值自动处理）
				TickType_t xNo_Motion_Ticks = xTaskGetTickCount() - xLast_Valid_Motion_Ticks;
				if(xNo_Motion_Ticks >= Screen_off_time)
				{
					OLED_OFF();  // 息屏
					oled_screen_on = 0;  // 更新屏幕状态
				}
			}
		}
		else if(oled_screen_on == 0)  // 息屏状态：实时检测是否有有效运动，唤醒屏幕
		{
			if(total_acc_change > ACC_CHANGE_THRESHOLD)
			{
				OLED_ON();  // 唤醒屏幕
				oled_screen_on = 1;  // 更新屏幕状态
				xLast_Valid_Motion_Ticks = xTaskGetTickCount();  // 重置时间戳，重新开始30秒计时
			}
		}

		// ========== 步骤4：更新数据和计数器（你的原有逻辑，保持不变） ==========
		axy_check_counter++;
		last_AccX = AccX;
		last_AccY = AccY;
		last_AccZ = AccZ;

		// ========== 步骤5：任务周期性延时（固定短延时，释放CPU，保证实时检测） ==========
		// HAL_GPIO_TogglePin(GPIOB, GPIO_PIN_3);
		osDelay(100);
	}
	/* USER CODE END StartMPU6050Task */
}

/* USER CODE BEGIN Application */

void delay_ms(uint32_t ms)
{
	uint32_t i, j;
	for(i = 0; i < ms; i++)
	{
		for(j = 0; j < 1000; j++); // 内循环：约1ms（根据MCU主频微调）
	}
}

void gameTask(void * pvParameters)
{
	// 玩家字符A相关变量
	uint8_t u8Last_X_Pos_A = 0;
	float fFiltered_AccX = 0.0f; // 滤波后的AccX，减少抖动
	// 时序计数器（替代xTaskGetTickCount()，累加毫秒数）
	uint32_t u32Spawn_Cnt = 0;   // 距离上一次生成V的时间计数器
	uint32_t u32Move_Cnt = 0;    // 距离上一次下移V的时间计数器
	// 游戏状态标志
	uint8_t u8Game_Over = 0;
	// 伪随机数种子（用于V的X坐标生成，避免重复）
	uint32_t u32Rand_Seed = 0;
	uint32_t fen = 0;
	char fens[10];

	// ========== 初始化 ==========
	OLED_CLS(); // 清屏（确保游戏界面干净）
	// 初始化玩家字符A
	OLED_ShowStr(SCREEN_X_MIN, GAME_DISPLAY_PAGE_A, (unsigned char*)GAME_CHAR_A, 1);
	u8Last_X_Pos_A = SCREEN_X_MIN;
	// 初始化V数组（全部置为无效）
	for(uint8_t i=0; i<MAX_V_COUNT; i++)
	{
		V_Array[i].is_valid = 0;
	}
	// 初始化伪随机数种子
	u32Rand_Seed = 12345;

	// ========== 按照你的要求：进入临界区，包裹整个主循环（永久锁定） ==========
	//taskENTER_CRITICAL();
	//MPU6050_Init();

	// ========== 游戏主循环（不依赖xTaskGetTickCount()，用软件延时+计数器实现时序） ==========
	for(;;)
	{
		// ========== 游戏结束判断：若结束则显示结束信息 ==========
		if(u8Game_Over == 1)
		{
			OLED_CLS();
			OLED_ShowStr(40, 3, (unsigned char*)"GAME OVER", 1);
			sprintf(fens,"score:%ld ",fen);
			OLED_ShowStr(45, 5, (unsigned char*)fens, 1);
			osDelay(1000); // 使用FreeRTOS延时，兼容调度
			vTaskSuspend(NULL);
		}

		// ========== 步骤1：处理玩家字符A的移动（直接读取MPU6050，不依赖其他任务） ==========
		// 直接在任务内读取MPU6050（其他任务已卡死，无法复用全局AccX）
		float AccX, AccY, AccZ, GyroX, GyroY, GyroZ;
		MPU6050_GetData(&AccX, &AccY, &AccZ, &GyroX, &GyroY, &GyroZ);

		// 滑动滤波：消除微小抖动
		fFiltered_AccX = FILTER_ALPHA * (-AccX) + (1 - FILTER_ALPHA) * fFiltered_AccX;

		// 加速度限幅
		float fAccX_Curr = fFiltered_AccX;
		if(fAccX_Curr < ACC_X_MIN) fAccX_Curr = ACC_X_MIN;
		if(fAccX_Curr > ACC_X_MAX) fAccX_Curr = ACC_X_MAX;

		// 映射到屏幕X坐标
		uint8_t u8Curr_X_Pos_A = (uint8_t)(((fAccX_Curr - ACC_X_MIN) / (ACC_X_MAX - ACC_X_MIN)) * (SCREEN_X_MAX - SCREEN_X_MIN) + SCREEN_X_MIN);

		// 坐标节流：只有变化超过阈值才更新OLED，减少I2C开销
		if(abs(u8Curr_X_Pos_A - u8Last_X_Pos_A) >= POS_CHANGE_THRESH)
		{
			OLED_ShowStr(u8Last_X_Pos_A, GAME_DISPLAY_PAGE_A, (unsigned char*)" ", 1);
			OLED_ShowStr(u8Curr_X_Pos_A, GAME_DISPLAY_PAGE_A, (unsigned char*)GAME_CHAR_A, 1);
			u8Last_X_Pos_A = u8Curr_X_Pos_A;
		}

		// ========== 步骤2：软件延时+计数器累加（实现1秒时序） ==========
		delay_ms(20); // 每次循环延时20ms
		u32Spawn_Cnt += 20; // 累加生成V的计数器
		u32Move_Cnt += 20;  // 累加下移V的计数器

		// ========== 步骤3：计数器判断：每秒生成1个V（最多10个） ==========
		if(u32Spawn_Cnt >= V_SPAWN_INTERVAL)
		{
			// 更新伪随机数种子
			u32Rand_Seed += 7;
			// 寻找数组中第一个无效的V
			for(uint8_t i=0; i<MAX_V_COUNT; i++)
			{
				if(V_Array[i].is_valid == 0)
				{
					// 生成伪随机X坐标（基于种子，避免重复）
					V_Array[i].x_pos = (uint8_t)(rand() % (SCREEN_X_MAX + 1));
					V_Array[i].page = GAME_DISPLAY_PAGE_V_INIT;
					V_Array[i].is_valid = 1;

					// 绘制新生成的V
					OLED_ShowStr(V_Array[i].x_pos, V_Array[i].page, (unsigned char*)GAME_CHAR_V, 1);
					break;
				}
			}

			// 清零生成V的计数器，准备下一次计时
			u32Spawn_Cnt = 0;
			if(V_SPAWN_INTERVAL>21)
				V_SPAWN_INTERVAL--;
		}

		// ====s====== 步骤4：计数器判断：每秒移动所有有效V向下一页 ==========
		if(u32Move_Cnt >= V_MOVE_INTERVAL)
		{
			for(uint8_t i=0; i<MAX_V_COUNT; i++)
			{
				if(V_Array[i].is_valid == 1)
				{
					// 清除当前V的位置（防残影）
					OLED_ShowStr(V_Array[i].x_pos, V_Array[i].page, (unsigned char*)" ", 1);

					// 更新V的页号（向下移动一页）
					V_Array[i].page++;

					// 判断V是否超出屏幕（页号>7，OLED最大页为7）
					if(V_Array[i].page > 7)
					{
						V_Array[i].is_valid = 0;
						fen++;
						continue;
					}

					// 绘制移动后的V
					OLED_ShowStr(V_Array[i].x_pos, V_Array[i].page, (unsigned char*)GAME_CHAR_V, 1);
				}
			}

			// 清零下移V的计数器，准备下一次计时
			u32Move_Cnt = 0;
			if(V_MOVE_INTERVAL>=21)
				V_MOVE_INTERVAL--;
		}

		// ========== 步骤5：碰撞判断（V与A碰撞则游戏结束） ==========
		for(uint8_t i=0; i<MAX_V_COUNT; i++)
		{
			if(V_Array[i].is_valid == 1)
			{
				// 碰撞条件：同页 + X坐标重叠
				if((V_Array[i].page == GAME_DISPLAY_PAGE_A) && (abs(V_Array[i].x_pos - u8Last_X_Pos_A) < CHAR_WIDTH))
				{
					u8Game_Over = 1;//taskEXIT_CRITICAL();
					break;
				}
			}
		}
	}
}

void musicTask(void * pvParameters)
{
	/* USER CODE BEGIN musicTask */
	/* ========== 性能调节 ========== */
#define TARGET_VOLUME 0.15f  // 15% 占空比，保证高频不失真
#define NOTE_GAP_MS   15     // 音符间隙

	/* ========== 全音域频率表 (严格对齐) ========== */
	const uint32_t freq_tab[] = {
			0,                                                  // 0: 休止
			131, 147, 165, 175, 196, 220, 247,                  // 11~17: 低音
			0, 0, 0,                                            // 8~10: 占位
			262, 294, 330, 349, 392, 440, 494,                  // 1~7: 中音
			0, 0, 0,                                            // 18~20: 占位
			523, 587, 659, 698, 784, 880, 988,                  // 21~27: 高音
			0, 0, 0,                                            // 28~30: 占位
			1046, 1175, 1318, 1397, 1568, 1760, 1976            // 31~37: 超高音
	};

	/* 拍长单位 (ms) */
	const uint32_t beat_ms[] = {0, 125, 250, 375, 500};

	/* ========== 驱动函数 ========== */
	void Buzzer_Set(uint32_t freq)
	{
		if(freq < 50)
		{
			HAL_TIM_PWM_Stop(&htim1, TIM_CHANNEL_1);
			return;
		}
		uint16_t arr = (uint16_t)(1000000 / freq) - 1;

		HAL_TIM_PWM_Stop(&htim1, TIM_CHANNEL_1);
		__HAL_TIM_SET_AUTORELOAD(&htim1, arr);
		__HAL_TIM_SET_COMPARE(&htim1, TIM_CHANNEL_1, (uint16_t)(arr * TARGET_VOLUME));
		HAL_TIM_PWM_Start(&htim1, TIM_CHANNEL_1);
	}

	void Play_Music(void)
	{
		for(uint32_t i = 0; ; i++)
		{
			unsigned char note = music_config[i][0];
			unsigned char beat = music_config[i][1];
			if(note == 0 && beat == 0) break;

			//索引范围检查，防止访问数组越界导致哑音
			if(note < (sizeof(freq_tab)/sizeof(freq_tab[0])))
			{
				Buzzer_Set(freq_tab[note]);
				osDelay(beat_ms[beat]);
			}
			Buzzer_Set(0);
			osDelay(NOTE_GAP_MS);
		}
	}

	/* 启动PWM输出 */
	HAL_TIM_PWM_Start(&htim1, TIM_CHANNEL_1);

	/* Infinite loop */
	for(;;)
	{
		Play_Music();
		osDelay(2000);
	}
	/* USER CODE END musicTask */
}
/* USER CODE END Application */
